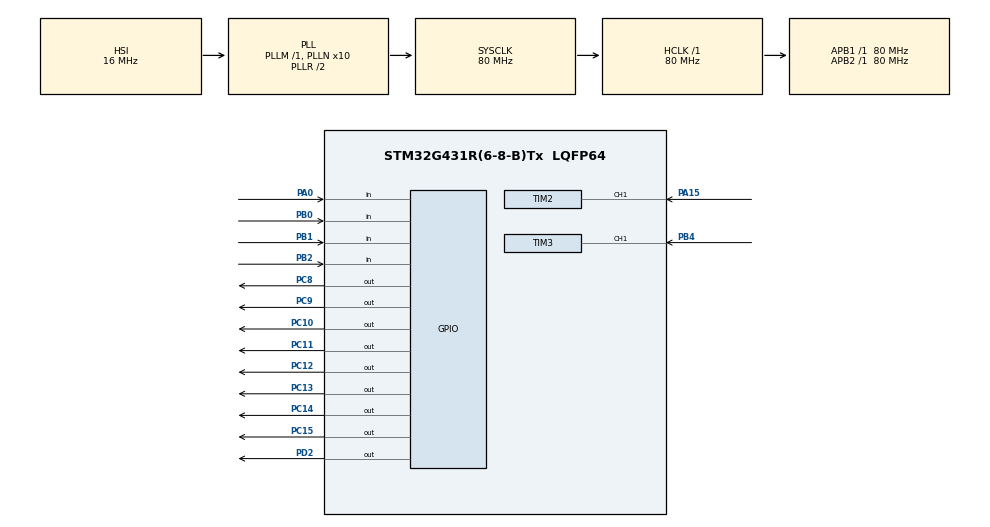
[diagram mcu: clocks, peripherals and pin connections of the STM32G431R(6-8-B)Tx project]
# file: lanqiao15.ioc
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Mcu.Family=STM32G4
Mcu.Name=STM32G431R(6-8-B)Tx
Mcu.Package=LQFP64
NVIC.PriorityGroup=NVIC_PRIORITYGROUP_4
NVIC.TIM2_IRQn=true\:0\:0\:false\:false\:true\:true\:true\:true
NVIC.TIM3_IRQn=true\:0\:0\:false\:false\:true\:true\:true\:true
NVIC.TIM6_DAC_IRQn=true\:0\:0\:false\:false\:true\:true\:true\:true
PA0.GPIO_PuPd=GPIO_PULLUP
PA0.Signal=GPIO_Input
PA13.Mode=Serial_Wire
PA13.Signal=SYS_JTMS-SWDIO
PA14.Mode=Serial_Wire
PA14.Signal=SYS_JTCK-SWCLK
PA15.Signal=S_TIM2_CH1
PB0.GPIO_PuPd=GPIO_PULLUP
PB0.Signal=GPIO_Input
PB1.GPIO_PuPd=GPIO_PULLUP
PB1.Signal=GPIO_Input
PB2.GPIO_PuPd=GPIO_PULLUP
PB2.Signal=GPIO_Input
PB4.Signal=S_TIM3_CH1
PC10.PinState=GPIO_PIN_SET
PC10.Signal=GPIO_Output
PC11.PinState=GPIO_PIN_SET
PC11.Signal=GPIO_Output
PC12.PinState=GPIO_PIN_SET
PC12.Signal=GPIO_Output
PC13.PinState=GPIO_PIN_SET
PC13.Signal=GPIO_Output
PC14-OSC32_IN.PinState=GPIO_PIN_SET
PC14-OSC32_IN.Signal=GPIO_Output
PC15-OSC32_OUT.PinState=GPIO_PIN_SET
PC15-OSC32_OUT.Signal=GPIO_Output
PC8.PinState=GPIO_PIN_SET
PC8.Signal=GPIO_Output
PC9.PinState=GPIO_PIN_SET
PC9.Signal=GPIO_Output
PD2.PinState=GPIO_PIN_RESET
PD2.Signal=GPIO_Output
PF0-OSC_IN.Mode=HSE-External-Oscillator
PF0-OSC_IN.Signal=RCC_OSC_IN
PF1-OSC_OUT.Mode=HSE-External-Oscillator
PF1-OSC_OUT.Signal=RCC_OSC_OUT
ProjectManager.HeapSize=0x200
ProjectManager.StackSize=0x400
ProjectManager.TargetToolchain=MDK-ARM V5.32
RCC.ADC12Freq_Value=80000000
RCC.AHBFreq_Value=80000000
RCC.APB1Freq_Value=80000000
RCC.APB1TimFreq_Value=80000000
RCC.APB2Freq_Value=80000000
RCC.APB2TimFreq_Value=80000000
RCC.CortexFreq_Value=80000000
RCC.EXTERNAL_CLOCK_VALUE=12288000
RCC.HCLKFreq_Value=80000000
RCC.HSE_VALUE=8000000
RCC.HSI48_VALUE=48000000
RCC.HSI_VALUE=16000000
RCC.LSE_VALUE=32768
RCC.PLLN=10
RCC.SYSCLKFreq_VALUE=80000000
RCC.SYSCLKSource=RCC_SYSCLKSOURCE_PLLCLK
RCC.USBFreq_Value=80000000
RCC.VCOOutputFreq_Value=160000000
SH.S_TIM2_CH1.0=TIM2_CH1,Input_Capture1_from_TI1
SH.S_TIM3_CH1.0=TIM3_CH1,Input_Capture1_from_TI1
TIM2.Channel-Input_Capture1_from_TI1=TIM_CHANNEL_1
TIM2.PeriodNoDither=65535
TIM2.Prescaler=80-1
TIM3.Channel-Input_Capture1_from_TI1=TIM_CHANNEL_1
TIM3.Prescaler=80-1
TIM6.PeriodNoDither=1000-1
TIM6.Prescaler=80-1
VP_SYS_VS_DBSignals.Mode=DisableDeadBatterySignals
VP_TIM2_VS_ClockSourceINT.Mode=Internal
VP_TIM3_VS_ClockSourceINT.Mode=Internal
VP_TIM6_VS_ClockSourceINT.Mode=Enable_Timer
board=custom

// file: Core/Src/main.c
/* USER CODE BEGIN Header */
/**
  ******************************************************************************
  * @file           : main.c
  * @brief          : Main program body
  ******************************************************************************
  * @attention
  *
  * Copyright (c) 2026 STMicroelectronics.
  * All rights reserved.
  *
  * This software is licensed under terms that can be found in the LICENSE file
  * in the root directory of this software component.
  * If no LICENSE file comes with this software, it is provided AS-IS.
  *
  ******************************************************************************
  */
/* USER CODE END Header */
#include "main.h"
#include "tim.h"
#include "gpio.h"

/* USER CODE BEGIN Includes */
#include "stdio.h"
#include "string.h"
#include "lcd.h"
#include "i2c_hal.h"
#include "key.h"
/* USER CODE END Includes */

/* USER CODE BEGIN PV */
volatile uint32_t xms = 0;
volatile uint32_t last_tim_capA = 0;//A存上一次的上升沿
volatile uint32_t periodA_between = 0;//A存两次之间的周期

volatile uint32_t last_tim_capB = 0;//B存上一次的上升沿
volatile uint32_t periodB_between = 0;//B存两次之间的周期

volatile uint32_t tim_lastrecordA = 0;
volatile uint32_t tim_lastrecordB = 0;
//频率的变量
volatile uint32_t fA = 0;
volatile uint32_t fB = 0;
volatile uint32_t view_mode=0;//频率or周期

//按键的变量

volatile uint32_t key3_start=0;//按键3开始，清0用
volatile uint32_t Lcd_val=0;//这个是为了存lcd当前要显示的界面的值的，与key_scan的函数有关
volatile uint8_t Lcd_exchange=0;//界面切换

volatile uint32_t PD=1000;
volatile uint32_t PH=5000;
volatile int32_t PX=0;//它可以是负值，要有符号
volatile uint32_t NDA=0,NDB=0,NHA=0 , NHB=0;
volatile uint32_t lcd_lasttick=0;  //用来控制屏幕刷新度的，防止他刷新过快

volatile int32_t fA_cal=0;//A捕获在校验之后的值
volatile int32_t fB_cal=0;//B捕获在校验之后的值
volatile uint32_t over_A=0,over_B=0;//超出的值

volatile int32_t fA_max=0,fA_min=0,fB_max=0,fB_min=0;//检测最大最小值
volatile uint32_t fA_3swindow=0,fB_3swindow=0;//题目要求检测3s内的最大最小值

volatile uint8_t key_set=0;//这个是在加减时候的按键位置，题目默认PD=0
volatile uint8_t LED_mask=0;//LED亮的编号
char line_code_0 [21]={0};
char line_code_1 [21]={0};
char line_code_2 [21]={0};
char line_code_3 [21]={0};
char line_code_4 [21]={0};
char line_code_5 [21]={0};
char line_code_6 [21]={0};
/* USER CODE END PV */

void SystemClock_Config(void);
/* USER CODE BEGIN PFP */
void LED_Disp(uint8_t mask);

uint8_t Key_read(void);//读取按键
uint8_t Key_scan(void);//扫描按键
/* USER CODE END PFP */

int main(void)
{

  /* MCU Configuration--------------------------------------------------------*/

  /* Reset of all peripherals, Initializes the Flash interface and the Systick. */
  HAL_Init();

  /* Configure the system clock */
  SystemClock_Config();

  /* Initialize all configured peripherals */
  MX_GPIO_Init();
  MX_TIM6_Init();
  MX_TIM2_Init();
  MX_TIM3_Init();
  /* USER CODE BEGIN 2 */
	LCD_Init();
	HAL_TIM_Base_Start_IT(&htim6);

	HAL_TIM_IC_Start_IT(&htim2,TIM_CHANNEL_1);//用了中断就开他
	HAL_TIM_IC_Start_IT(&htim3,TIM_CHANNEL_1);//用了中断就开他

	LCD_SetTextColor(White);
	LCD_SetBackColor(Black);
	LCD_Clear(Black);
	sprintf(line_code_1,"        DATA ");//第一次没进循环，先让他显示
  /* USER CODE END 2 */

  /* Infinite loop */
  /* USER CODE BEGIN WHILE */
  while (1)
  {
	  if(Lcd_val&0x08)//B4定义为界面切换
	  {
		Lcd_exchange++;
		if(Lcd_exchange>2)Lcd_exchange=0;
		  LCD_Clear(Black);
		if(Lcd_exchange==0) sprintf(line_code_1,"        DATA ");
		else if(Lcd_exchange==1)
		{sprintf(line_code_1,"        PARA ");
			key_set=0;//当我按到第二个界面时，默认成PD
		}
		else sprintf(line_code_1,"        RECD");
		LCD_DisplayStringLine(Line1, (uint8_t*)line_code_1);
	  }
/********************采集代码A,不包含显示************************/
	  if((xms-tim_lastrecordA)>=100)
	  {
		  tim_lastrecordA=xms;
		  fA=(periodA_between>0)?(1000000u/periodA_between):0;
		  fA_cal=fA+PX;

		  if(fA_cal>fA_max) fA_max=fA_cal;//这两行是窗口期A的最大最小比较
		  if(fA_cal<fA_min) fA_min=fA_cal;

		  if(xms-fA_3swindow>=3000)
		  {
			if(fA_3swindow!=0&&fA_max-fA_min>=PD) NDA++;
				fA_max=fA_cal;//每次进来都更新一下，不然一直保持上一次的值
				fA_min=fA_cal;
				fA_3swindow=xms;//把3秒的时钟重新赋值进去，这些都是更新数据的必备操作
		  }
	  }

/********************采集代码B,不包含显示************************/
	  if((xms-tim_lastrecordB)>=100)
	  {
		  tim_lastrecordB=xms;
		  fB=(periodB_between>0)?(1000000u/periodB_between):0;
		  fB_cal=fB+PX;

		  if(fB_cal>fB_max) fB_max=fB_cal;//这两行是窗口期B的最大最小比较
		  if(fB_cal<fB_min) fB_min=fB_cal;

		    if(xms-fB_3swindow>=3000)
		  {
			if(fB_3swindow!=0&&fB_max-fB_min>=PD) NDB++;
				fB_max=fB_cal;//每次进来都更新一下，不然一直保持上一次的值
				fB_min=fB_cal;
				fB_3swindow=xms;//把3秒的时钟重新赋值进去，这些都是更新数据的必备操作
		  }
	  }
		Lcd_val=Key_scan();//这行很重要，决定按键显示界面
/*****************************************************************/
	  if(xms-lcd_lasttick>=100)//100ms刷新一次，防止刷的太快死机了
	  {
		lcd_lasttick=xms;
		  if(Lcd_exchange==0)//当他什么都没有按下，也就是上电状态，显示的也只有DATA他们
		  {
			  if(view_mode==0)//频率模式
			  {
				  if(fA_cal<0)sprintf(line_code_3,"     A=NULL     ");//A的捕获
				else if(fA_cal>1000)
				 sprintf(line_code_3,"     A=%ld.%02ldKHz     ",(long)fA_cal/1000,(long)fA_cal%1000/10);
				else sprintf(line_code_3,"     A=%ldHz      ",(long)fA_cal);

				 if(fB_cal<0)sprintf(line_code_4,"     B=NULL     ");//B的捕获
				else if(fB_cal>1000)
				 sprintf(line_code_4,"     B=%ld.%02ldKHz     ",(long)fB_cal/1000,(long)fB_cal%1000/10);
				else sprintf(line_code_4,"     B=%ldHz      ",(long)fB_cal);

				 sprintf(line_code_5,"                   ");
				 sprintf(line_code_6,"                   ");
			  }

			 else			//周期模式
			 {
				 if(fA_cal<0)sprintf(line_code_3,"     A=NULL     ");//A的捕获
				else if((1000000/fA_cal)>1000)
				 sprintf(line_code_3,"     A=%ld.%02ldms     ",(long)(1000000/fA_cal)/1000,(long)(1000000/fA_cal)%1000/10);
				else sprintf(line_code_3,"     A=%ldus      ",(long)(1000000/fA_cal));

				 if(fB_cal<0)sprintf(line_code_4,"     B=NULL     ");//B的捕获
				else if((1000000/fB_cal)>1000)
				 sprintf(line_code_4,"     B=%ld.%02ldms     ",(long)(1000000/fB_cal)/1000,(long)(1000000/fB_cal)%1000/10);
				else sprintf(line_code_4,"     B=%ldus      ",(long)(1000000/fB_cal));

				 sprintf(line_code_5,"                   ");
				 sprintf(line_code_6,"                   ");
			 }
		  }

		  else if(Lcd_exchange==1)//当切换一次，现在应该是参数界面
		  {
			sprintf(line_code_3,"     PD=%luHz      ",(unsigned long)PD);
			sprintf(line_code_4,"     PH=%luHz      ",(unsigned long)PH);
			sprintf(line_code_5,"     PX=%dHz      ",PX);
			sprintf(line_code_6,"                   ");
		  }
		  else
		  {
			sprintf(line_code_3,"     NDA=%lu        ",(unsigned long)NDA);
			sprintf(line_code_4,"     NDB=%lu        ",(unsigned long)NDB);
			sprintf(line_code_5,"     NHA=%lu        ",(unsigned long)NHA);
			sprintf(line_code_6,"     NHB=%lu        ",(unsigned long)NHB);
		  }
		LCD_DisplayStringLine(Line0, (uint8_t*)line_code_0);
		LCD_DisplayStringLine(Line1, (uint8_t*)line_code_1);
		LCD_DisplayStringLine(Line2, (uint8_t*)line_code_2);
		LCD_DisplayStringLine(Line3, (uint8_t*)line_code_3);
		LCD_DisplayStringLine(Line4, (uint8_t*)line_code_4);
		LCD_DisplayStringLine(Line5, (uint8_t*)line_code_5);
		LCD_DisplayStringLine(Line6, (uint8_t*)line_code_6);
	  }
/********************按键部分的代码************************/
	  if(Lcd_val&0x04)//先按键，其实先后一样的
	  {
		  if(Lcd_exchange==1)//判断界面是不是我要的那个参数界面
		  {
			key_set++;
			  if(key_set>2)key_set=0;
		  }
		  if(Lcd_exchange==0)
		  {
			view_mode=~view_mode;
		  }
	  }
		  if(Lcd_val&0x01)//当按下1，+100
	  {
		  if(Lcd_exchange==1)
		  {
			if(key_set==0) {if(PD<1000)PD+=100;}//他们三个都是有限定范围的
			else if(key_set==1){if(PH<10000)PH+=100;}
			else	{if(PX<1000)PX+=100;}
		  }
	  }
	  if(Lcd_val&0x02)//当按下2，-100
	  {
		   if(Lcd_exchange==1)
		  {
			if(key_set==0) {if(PD>100)PD-=100;}//他们三个都是有限定范围的
			else if(key_set==1){if(PH>1000)PH-=100;}
			else	{if(-PX<1000)PX-=100;}
		  }
	  }
	  if((Lcd_val&0x04)&&(Lcd_exchange==2))//当按下3，全部清0
	  {
		  if(xms-key3_start>=1000)
		  {
			NDA=0;NDB=0;NHA=0;NHB=0;
			fA_max=fA_cal;fA_min=fA_cal;fA_3swindow=xms;
			fB_max=fB_cal;fB_min=fB_cal;fB_3swindow=xms;
			  key3_start=xms;
		  }

	  }
/********************LED部分的代码************************/
	  LED_mask=0;//更新都要重新清0，或重新赋值
	  if(Lcd_exchange==0)LED_mask|=0x01;//LED在不同情况下显示的代码
	  if(fA_cal>PH)LED_mask|=0x02;
	  if(fB_cal>PH)LED_mask|=0x04;
	  if(NDA>=3|NDB>=3)LED_mask|=0x80;
	  LED_Disp(LED_mask);

	  if(fA_cal>PH)//如果A的频率大于限定值，NHA+1,但只加一次
	  {
		if(over_A==0)
		{
			NHA++;
			over_A=1;
		}
	  }
	  else over_A=0;	//else别挂错地方了，不然会一直猛跳
	  if(fB_cal>PH)//如果B的频率大于限定值，NHB+1,但只加一次
	  {
		if(over_B==0)
		{
			NHB++;
			over_B=1;
		}
	  }
	  else over_B=0;
    /* USER CODE END WHILE */

  }
}

void SystemClock_Config(void)
{
  RCC_OscInitTypeDef RCC_OscInitStruct = {0};
  RCC_ClkInitTypeDef RCC_ClkInitStruct = {0};

  /** Configure the main internal regulator output voltage
  */
  HAL_PWREx_ControlVoltageScaling(PWR_REGULATOR_VOLTAGE_SCALE1);

  /** Initializes the RCC Oscillators according to the specified parameters
  * in the RCC_OscInitTypeDef structure.
  */
  RCC_OscInitStruct.OscillatorType = RCC_OSCILLATORTYPE_HSI;
  RCC_OscInitStruct.HSIState = RCC_HSI_ON;
  RCC_OscInitStruct.HSICalibrationValue = RCC_HSICALIBRATION_DEFAULT;
  RCC_OscInitStruct.PLL.PLLState = RCC_PLL_ON;
  RCC_OscInitStruct.PLL.PLLSource = RCC_PLLSOURCE_HSI;
  RCC_OscInitStruct.PLL.PLLM = RCC_PLLM_DIV1;
  RCC_OscInitStruct.PLL.PLLN = 10;
  RCC_OscInitStruct.PLL.PLLP = RCC_PLLP_DIV2;
  RCC_OscInitStruct.PLL.PLLQ = RCC_PLLQ_DIV2;
  RCC_OscInitStruct.PLL.PLLR = RCC_PLLR_DIV2;
  if (HAL_RCC_OscConfig(&RCC_OscInitStruct) != HAL_OK)
  {
    Error_Handler();
  }

  /** Initializes the CPU, AHB and APB buses clocks
  */
  RCC_ClkInitStruct.ClockType = RCC_CLOCKTYPE_HCLK|RCC_CLOCKTYPE_SYSCLK
                              |RCC_CLOCKTYPE_PCLK1|RCC_CLOCKTYPE_PCLK2;
  RCC_ClkInitStruct.SYSCLKSource = RCC_SYSCLKSOURCE_PLLCLK;
  RCC_ClkInitStruct.AHBCLKDivider = RCC_SYSCLK_DIV1;
  RCC_ClkInitStruct.APB1CLKDivider = RCC_HCLK_DIV1;
  RCC_ClkInitStruct.APB2CLKDivider = RCC_HCLK_DIV1;

  if (HAL_RCC_ClockConfig(&RCC_ClkInitStruct, FLASH_LATENCY_2) != HAL_OK)
  {
    Error_Handler();
  }
}

/* USER CODE BEGIN 4 */
void HAL_TIM_PeriodElapsedCallback(TIM_HandleTypeDef *htim)
{
	if(htim->Instance==TIM6)
	{
		xms++;
	}
}
void HAL_TIM_IC_CaptureCallback(TIM_HandleTypeDef *htim)
{
	if(htim->Instance==TIM2)//A捕获
	{
		uint32_t now_capA=HAL_TIM_ReadCapturedValue(&htim2,TIM_CHANNEL_1);
		periodA_between = now_capA - last_tim_capA;
		last_tim_capA = now_capA;
	}
	if(htim->Instance==TIM3)//B捕获
	{
		uint32_t now_capB=HAL_TIM_ReadCapturedValue(&htim3,TIM_CHANNEL_1);
		periodB_between = now_capB - last_tim_capB;
		last_tim_capB = now_capB;
	}

}

/* USER CODE END 4 */

void Error_Handler(void)
{
  __disable_irq();
  while (1)
  {
  }
}
